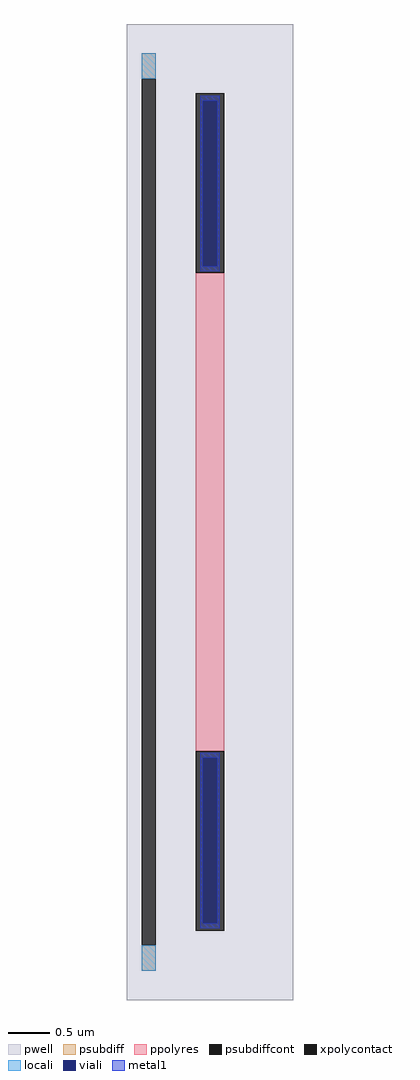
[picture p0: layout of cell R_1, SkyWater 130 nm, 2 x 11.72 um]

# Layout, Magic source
magic
tech sky130B
<< pwell >>
rect -100 -586 100 586
<< psubdiff >>
rect -82 520 -65 551
rect -82 -551 -65 -520
<< psubdiffcont >>
rect -82 -520 -65 520
<< xpolycontact >>
rect -17 287 17 503
rect -17 -503 17 -287
<< ppolyres >>
rect -17 -287 17 287
<< locali >>
rect -82 520 -65 551
rect -82 -551 -65 -520
<< viali >>
rect -9 295 9 494
rect -9 -494 9 -295
<< metal1 >>
rect -12 494 12 500
rect -12 295 -9 494
rect 9 295 12 494
rect -12 289 12 295
rect -12 -295 12 -289
rect -12 -494 -9 -295
rect 9 -494 12 -295
rect -12 -500 12 -494
<< properties >>
string FIXED_BBOX -74 -559 74 559
string gencell sky130_fd_pr__res_high_po_0p35
string library sky130
string parameters w 0.35 l 5.9 m 1 nx 1 wmin 0.350 lmin 0.50 rho 319.8 val 6.504k dummy 0 dw 0.0 term 194.82 sterm 0.0 caplen 0 guard 1 glc 1 grc 1 gtc 1 gbc 1 compatible {sky130_fd_pr__res_high_po_0p35  sky130_fd_pr__res_high_po_0p69 sky130_fd_pr__res_high_po_1p41  sky130_fd_pr__res_high_po_2p85 sky130_fd_pr__res_high_po_5p73} snake 0 full_metal 1 wmax 0.350 vias 1 n_guard 0 hv_guard 0 viagb 0 viagt 0 viagl 0 viagr 0
<< end >>
